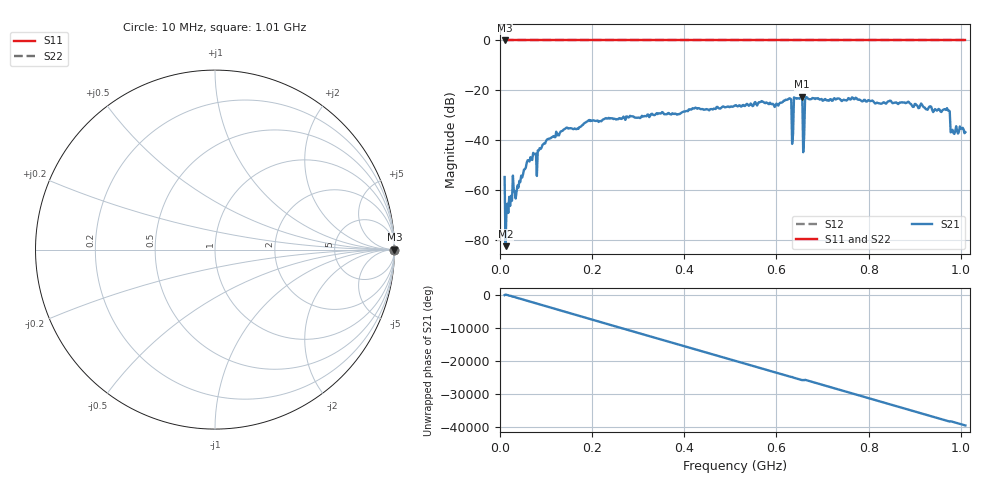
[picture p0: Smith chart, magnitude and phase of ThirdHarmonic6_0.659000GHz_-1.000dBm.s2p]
! 8/15/2025 9:54:15 PM
! C:\ANRITSUVNA\TEMP\TEMP.S2P
! CHANNEL.1
! TR.MEASUREMENT
! RAW.DATA
! RF.CORRECTION.OFF
! AVERAGING.OFF
! IF.BANDWIDTH: 5KHZ
! SWEEPTYPE:  FREQ.SWEEP(Linear)
! Reference Plane Port Info
! PORT:  PORT1  PORT2
! DISTANCE:  0  m  0  m
! TIME:  0  s  0  s
! PHASE.OFFSET:  0  deg.  0  deg.
! LOSS:  0  dB  0  dB
! REF.LOSS:  0  dB  0  dB
! REF.FREQ:  0  Hz  0  Hz
! Power Info
! POWER:  -20  dBm  -20  dBm
! EFF.POWER:  -20  dBm  -20  dBm
! SOURCE.ATTEN:  0  dB  0  dB
! TEST.ATTEN:  0  dB  0  dB
# GHZ S RI R 50.0
! FREQ.GHZ  S11RE  S11IM  S21RE  S21IM  S12RE  S12IM  S22RE  S22IM
!; PortSelection: Port_12
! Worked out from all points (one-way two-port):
!   501 points, 10 MHz to 1.01 GHz, reference 50 ohm
!   highest |S21| = -22.58 dB at 656 MHz (marker M1); lowest = -82.4 dB at 12 MHz (marker M2)
!   lowest |S11| = 0.0 dB at 10 MHz (marker M3)
!   |S11| at or under -10 dB: nowhere
!   |S22| runs from 0.0 to 0.0 dB; largest |S21 - S12| = 1.1
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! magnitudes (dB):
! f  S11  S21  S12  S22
! 10 MHz  0.0  -54.7  0.0  0.0
! 12 MHz  0.0  -82.4  0.0  0.0
! 16 MHz  0.0  -65.4  0.0  0.0
! 24 MHz  0.0  -62.2  0.0  0.0
! 62 MHz  0.0  -48.1  0.0  0.0
! 104 MHz  0.0  -39.5  0.0  0.0
! 178 MHz  0.0  -34.0  0.0  0.0
! 344 MHz  0.0  -29.2  0.0  0.0
! 510 MHz  0.0  -26.0  0.0  0.0
! 628 MHz  0.0  -23.2  0.0  0.0
! 632 MHz  0.0  -23.6  0.0  0.0
! 638 MHz  0.0  -22.8  0.0  0.0
! 642 MHz  0.0  -23.1  0.0  0.0
! 652 MHz  0.0  -23.1  0.0  0.0
! 656 MHz  0.0  -22.6  0.0  0.0
! 662 MHz  0.0  -23.9  0.0  0.0
! 666 MHz  0.0  -22.8  0.0  0.0
! 678 MHz  0.0  -23.1  0.0  0.0
! 844 MHz  0.0  -24.4  0.0  0.0
! 970 MHz  0.0  -27.1  0.0  0.0
! 982 MHz  0.0  -35.8  0.0  0.0
! 1.01 GHz  0.0  -36.8  0.0  0.0
